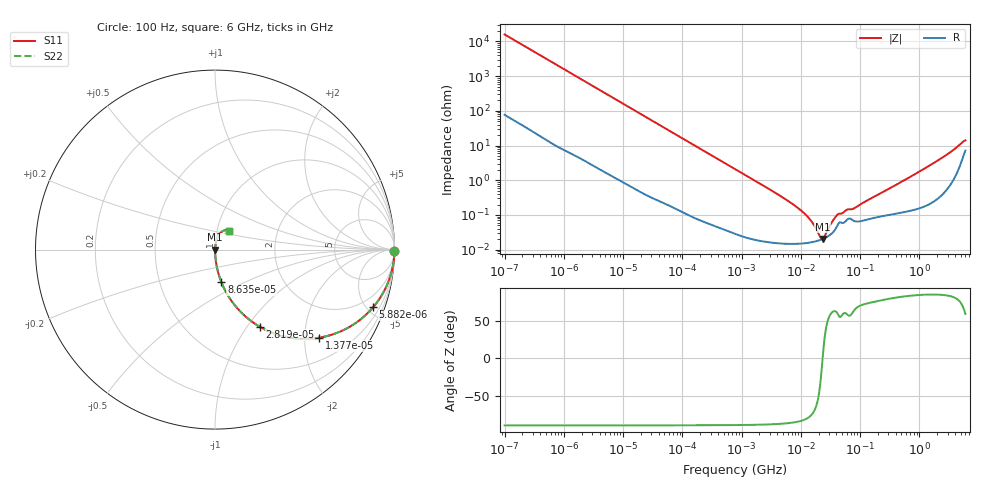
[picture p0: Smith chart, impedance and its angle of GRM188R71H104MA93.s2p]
!Murata Part Number: GRM188R71H104MA93
!These Parameters are Measured in Series Mode Connection
!Data Generated on Mar 30, 2021
!  o--ll--o
!Port1  Port2
!  o------o
!Operation Temp=25[degC], DC Bias Voltage=0[V]
!Freq. Start=100[Hz] Stop=6[GHz] 401[Steps]
# Hz S RI R 50
!Freq.(Hz) S11(Real) S11(Imag) S21(Real) S21(Imag) S12(Real) S12(Imag) S22(Real) S22(Imag)
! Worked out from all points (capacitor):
!   401 points, 100 Hz to 6 GHz, reference 50 ohm
!   read as one part in series: C = 99.8 nF near 109 Hz
!   lowest |Z| = 20.3 mohm at 23.28 MHz (marker M1)
!   series resonance near 23.32 MHz, so ESL is about 470 pH
!   S11 on the Smith chart (normalised r, x): 100 Hz: open; 5.882 kHz: 1.03, -5.48; 13.77 kHz: 1.01, -2.35; 28.19 kHz: 1.01, -1.15; 86.35 kHz: 1.00, -0.38; 6 GHz: 1.14, +0.24
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100  0.9999 -0.00628  6.98e-05 0.00628  6.98e-05 0.00628  0.9999 -0.00628
627  0.9983 -0.0391  0.0017 0.0391  0.0017 0.0391  0.9983 -0.0391
2008  0.984 -0.1229  0.016 0.1229  0.016 0.1229  0.984 -0.1229
5882  0.8813 -0.3208  0.1187 0.3208  0.1187 0.3208  0.8813 -0.3208
13772  0.5793 -0.4909  0.4207 0.4909  0.4207 0.4909  0.5793 -0.4909
28191  0.2497 -0.43  0.7503 0.43  0.7503 0.43  0.2497 -0.43
40335  0.1409 -0.3448  0.8591 0.3448  0.8591 0.3448  0.1409 -0.3448
86348  0.0356 -0.1816  0.9644 0.1816  0.9644 0.1816  0.0356 -0.1816
221108  0.00607 -0.0734  0.9939 0.0734  0.9939 0.0734  0.00607 -0.0734
774597  0.000736 -0.0212  0.9993 0.0212  0.9993 0.0212  0.000736 -0.0212
6948629  0.000151 -0.00218  0.9998 0.00218  0.9998 0.00218  0.000151 -0.00218
1.137099e7  0.000153 -0.00111  0.9998 0.00111  0.9998 0.00111  0.000153 -0.00111
1.555665e7  0.000165 -0.000593  0.9998 0.000593  0.9998 0.000593  0.000165 -0.000593
2.128304e7  0.000191 -0.000131  0.9998 0.000131  0.9998 0.000131  0.000191 -0.000131
2.327686e7  0.000202 -2.5e-06  0.9998 2.5e-06  0.9998 2.5e-06  0.000202 -2.5e-06
2.545746e7  0.000217 0.000127  0.9998 -0.000127  0.9998 -0.000127  0.000217 0.000127
3.482834e7  0.000315 0.000609  0.9997 -0.000609  0.9997 -0.000609  0.000315 0.000609
4.165952e7  0.000508 0.00089  0.9995 -0.00089  0.9995 -0.00089  0.000508 0.00089
8.154455e7  0.000663 0.00145  0.9993 -0.00145  0.9993 -0.00145  0.000663 0.00145
3.124326e8  0.00104 0.00569  0.999 -0.00569  0.999 -0.00569  0.00104 0.00569
1.873145e9  0.00373 0.0334  0.9963 -0.0334  0.9963 -0.0334  0.00373 0.0334
6e9  0.0787 0.1052  0.9213 -0.1052  0.9213 -0.1052  0.0787 0.1052
